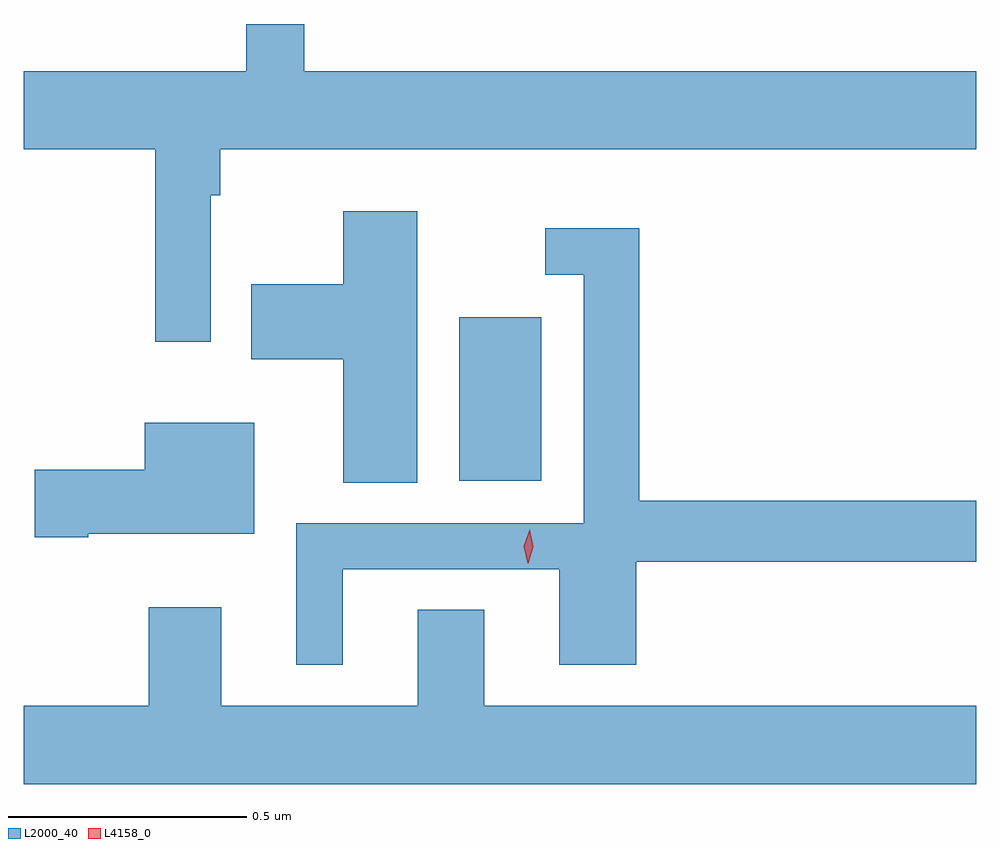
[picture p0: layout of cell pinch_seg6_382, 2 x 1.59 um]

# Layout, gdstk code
import gdstk
lib = gdstk.Library(unit=1e-6, precision=1e-09)
def R(c, l, rs):  # rectangles x0, y0, x1, y1
    for r in rs: c.add(gdstk.rectangle(r[:2], r[2:], *l))
def P(c, l, *ps):  # polygons
    for p in ps: c.add(gdstk.Polygon(p, *l))
L2000_40 = (2000, 40)
L4158_0 = (4158, 0)

pinch_seg6_382 = lib.new_cell('pinch_seg6_382')
R(pinch_seg6_382, L2000_40, [(672.398,947.972,672.571,948.316)])
P(pinch_seg6_382, L2000_40, [(671.877,948.572),(671.897,948.572),(671.897,948.668),(673.484,948.668),(673.484,948.832),(672.073,948.832),(672.073,948.931),(671.951,948.931),(671.951,948.832),(671.484,948.832),(671.484,948.668),(671.761,948.668),(671.761,948.264),(671.877,948.264)],
  [(672.31,948.538),(672.155,948.538),(672.155,948.385),(671.962,948.385),(671.962,948.227),(672.155,948.227),(672.155,947.968),(672.31,947.968)],
  [(672.154,947.787),(672.608,947.787),(672.608,947.586),(672.77,947.586),(672.77,947.802),(673.484,947.802),(673.484,947.93),(672.776,947.93),(672.776,948.502),(672.579,948.502),(672.579,948.405),(672.66,948.405),(672.66,947.883),(672.056,947.883),(672.056,947.586),(672.154,947.586)],
  [(671.62,947.861),(671.968,947.861),(671.968,948.094),(671.738,948.094),(671.738,947.996),(671.508,947.996),(671.508,947.854),(671.62,947.854)],
  [(673.484,947.5),(672.451,947.5),(672.451,947.702),(672.311,947.702),(672.311,947.5),(671.899,947.5),(671.899,947.707),(671.747,947.707),(671.747,947.5),(671.484,947.5),(671.484,947.336),(673.484,947.336)])
P(pinch_seg6_382, L4158_0, [(672.542,947.799),(672.534,947.835),(672.546,947.87),(672.546,947.871),(672.546,947.87),(672.554,947.834),(672.543,947.799),(672.543,947.799)])

lib.write_gds('pinch_seg6_382.gds')
